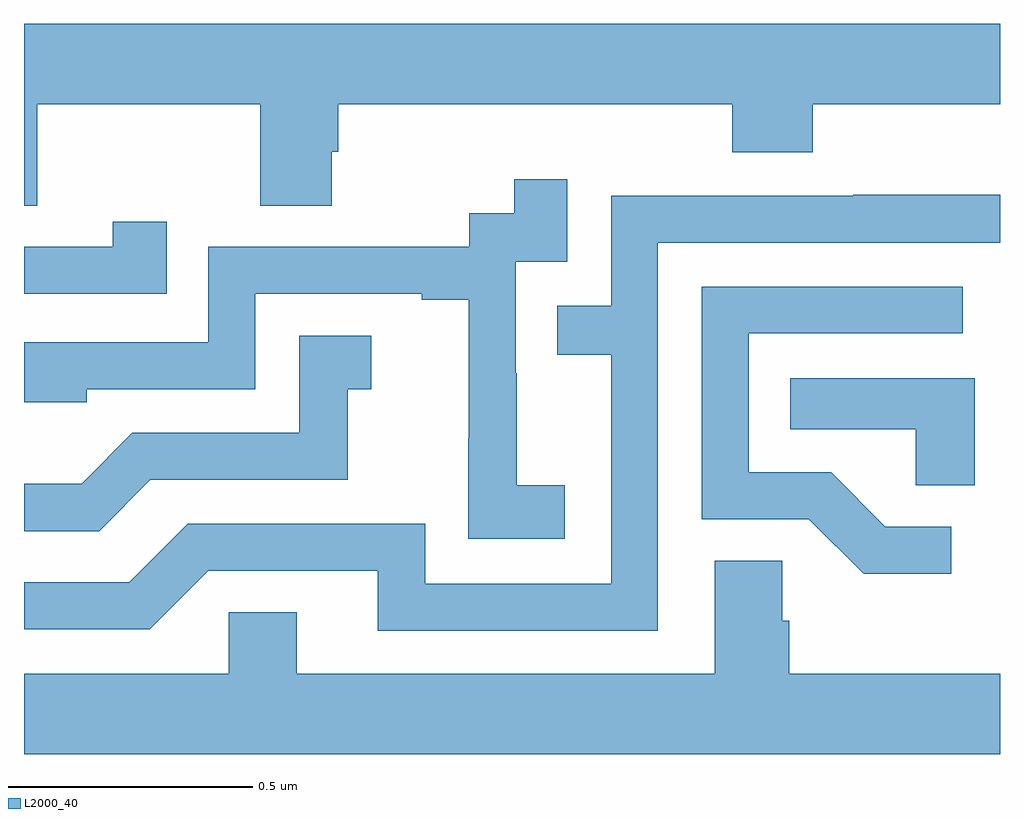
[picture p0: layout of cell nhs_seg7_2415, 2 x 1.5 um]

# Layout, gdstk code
import gdstk
lib = gdstk.Library(unit=1e-6, precision=1e-09)
def P(c, l, *ps):  # polygons
    for p in ps: c.add(gdstk.Polygon(p, *l))
L2000_40 = (2000, 40)

nhs_seg7_2415 = lib.new_cell('nhs_seg7_2415')
P(nhs_seg7_2415, L2000_40, [(144.027,1068.548),(144.484,1068.548),(144.484,1068.34),(144.631,1068.34),(144.631,1068.45),(144.644,1068.45),(144.644,1068.548),(145.451,1068.548),(145.451,1068.449),(145.616,1068.449),(145.616,1068.548),(146,1068.548),(146,1068.712),(144,1068.712),(144,1068.34),(144.027,1068.34)],
  [(145.108,1067.767),(145.01,1067.767),(145.01,1067.996),(145.008,1067.996),(145.008,1068.225),(145.113,1068.225),(145.113,1068.394),(145.005,1068.394),(145.005,1068.324),(144.912,1068.324),(144.912,1068.255),(144.378,1068.255),(144.378,1068.06),(144,1068.06),(144,1067.937),(144.129,1067.937),(144.129,1067.964),(144.474,1067.964),(144.474,1068.159),(144.815,1068.159),(144.815,1068.147),(144.911,1068.147),(144.911,1067.863),(144.91,1067.863),(144.91,1067.657),(145.108,1067.657)],
  [(145.299,1068.264),(146,1068.264),(146,1068.362),(145.699,1068.362),(145.699,1068.36),(145.203,1068.36),(145.203,1068.135),(145.093,1068.135),(145.093,1068.034),(145.203,1068.034),(145.203,1067.565),(144.822,1067.565),(144.822,1067.688),(144.336,1067.688),(144.216,1067.568),(144,1067.568),(144,1067.472),(144.258,1067.472),(144.378,1067.592),(144.725,1067.592),(144.725,1067.469),(145.299,1067.469)],
  [(144.293,1068.307),(144.182,1068.307),(144.182,1068.255),(144,1068.255),(144,1068.159),(144.293,1068.159)],
  [(145.9,1067.682),(145.765,1067.682),(145.654,1067.793),(145.485,1067.793),(145.485,1068.078),(145.924,1068.078),(145.924,1068.174),(145.389,1068.174),(145.389,1067.697),(145.608,1067.697),(145.721,1067.585),(145.9,1067.585)],
  [(144.259,1067.778),(144.663,1067.778),(144.663,1067.963),(144.712,1067.963),(144.712,1068.073),(144.564,1068.073),(144.564,1067.874),(144.222,1067.874),(144.118,1067.77),(144,1067.77),(144,1067.673),(144.154,1067.673)],
  [(145.948,1067.986),(145.57,1067.986),(145.57,1067.882),(145.827,1067.882),(145.827,1067.767),(145.948,1067.767)],
  [(146,1067.38),(145.568,1067.38),(145.568,1067.489),(145.554,1067.489),(145.554,1067.612),(145.415,1067.612),(145.415,1067.38),(144.559,1067.38),(144.559,1067.507),(144.42,1067.507),(144.42,1067.38),(144,1067.38),(144,1067.216),(146,1067.216)])

lib.write_gds('nhs_seg7_2415.gds')
